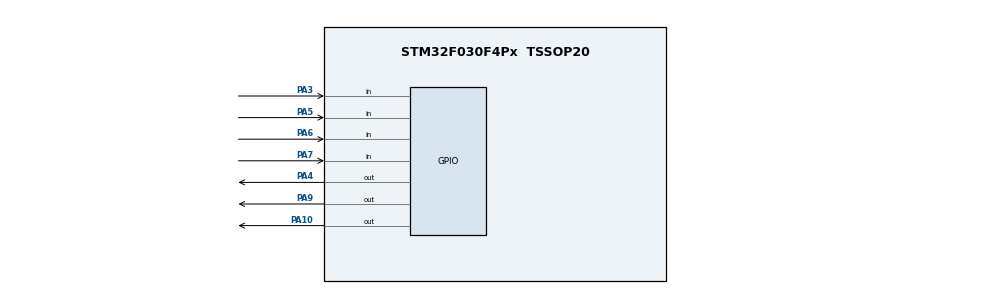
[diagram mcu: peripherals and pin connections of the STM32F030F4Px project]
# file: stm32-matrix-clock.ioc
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Mcu.Family=STM32F0
Mcu.Name=STM32F030F4Px
Mcu.Package=TSSOP20
NVIC.TIM3_IRQn=true\:0\:0\:false\:false\:true\:true\:true
PA10.GPIO_ModeDefaultOutputPP=GPIO_MODE_OUTPUT_OD
PA10.PinState=GPIO_PIN_SET
PA10.Signal=GPIO_Output
PA13.Mode=Serial_Wire
PA13.Signal=SYS_SWDIO
PA14.Mode=Serial_Wire
PA14.Signal=SYS_SWCLK
PA3.GPIO_PuPd=GPIO_PULLUP
PA3.Signal=GPIO_Input
PA4.GPIO_ModeDefaultOutputPP=GPIO_MODE_OUTPUT_OD
PA4.PinState=GPIO_PIN_SET
PA4.Signal=GPIO_Output
PA5.Signal=GPIO_Input
PA6.Signal=GPIO_Input
PA7.Signal=GPIO_Input
PA9.GPIO_ModeDefaultOutputPP=GPIO_MODE_OUTPUT_OD
PA9.PinState=GPIO_PIN_SET
PA9.Signal=GPIO_Output
PF0-OSC_IN.Mode=HSE-External-Oscillator
PF0-OSC_IN.Signal=RCC_OSC_IN
PF1-OSC_OUT.Mode=HSE-External-Oscillator
PF1-OSC_OUT.Signal=RCC_OSC_OUT
ProjectManager.HeapSize=0x200
ProjectManager.StackSize=0x400
ProjectManager.TargetToolchain=SW4STM32
RCC.SYSCLKSource=RCC_SYSCLKSOURCE_HSE
TIM3.Period=99
TIM3.Prescaler=799
VP_TIM3_VS_ClockSourceINT.Mode=Internal
board=custom

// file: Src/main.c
/* USER CODE BEGIN Header */
/**
  ******************************************************************************
  * @file           : main.c
  * @brief          : Main program body
  ******************************************************************************
  * @attention
  *
  * <h2><center>&copy; Copyright (c) 2019 STMicroelectronics.
  * All rights reserved.</center></h2>
  *
  * This software component is licensed by ST under BSD 3-Clause license,
  * the "License"; You may not use this file except in compliance with the
  * License. You may obtain a copy of the License at:
  *                        opensource.org/licenses/BSD-3-Clause
  *
  ******************************************************************************
  */

// stm32f030f4p6
// sw4stm32
// codepage: win-1251
// 19-Oct-2019

//   text    data     bss     dec
//  11036     116    2300   13452

/* USER CODE END Header */

#include "main.h"

/* USER CODE BEGIN Includes */

#include <string.h>

#include "at24c32.h"
#include "max7219.h"
#include "ds3231.h"

/* USER CODE END Includes */

/* USER CODE BEGIN PD */

#define BOARD_LED_PORT    GPIOA
#define BOARD_LED_PIN     GPIO_PIN_4
#define BOARD_LED_OFF     (HAL_GPIO_WritePin(BOARD_LED_PORT, BOARD_LED_PIN, GPIO_PIN_SET))
#define BOARD_LED_ON      (HAL_GPIO_WritePin(BOARD_LED_PORT, BOARD_LED_PIN, GPIO_PIN_RESET))
#define BOARD_LED_TOGGLE  (HAL_GPIO_TogglePin(BOARD_LED_PORT, BOARD_LED_PIN))

#define BUTTON_1_PORT   GPIOA
#define BUTTON_1_PIN    GPIO_PIN_3
#define BUTTON_1_PRESS  (!HAL_GPIO_ReadPin(BUTTON_1_PORT, BUTTON_1_PIN))

#define TMR3_OVF_FREQ    100U
#define TMR3_PERIOD_MS   (1000U/TMR3_OVF_FREQ)
#define EVENT_PERIOD(x)  ((x##U)/TMR3_PERIOD_MS)

#define BRIGHTNESS_EE_ADDR  255
#define SCREENMODE_EE_ADDR  254

/* USER CODE END PD */

TIM_HandleTypeDef htim3;

/* USER CODE BEGIN PV */

uint8_t rtcdata[RTC_DATA_SIZE]={0};  //ds3231 rtc data

char strbuff[16]={'\0'};  //string buffers
char strbuffsum[64]={'\0'};

uint8_t strbufflen=0;

uint16_t scrpos=0xffff;

uint8_t scrbright=0;
uint8_t scrmode=0;

volatile uint8_t scrcnt=0;

volatile uint8_t btncnt=0;
volatile uint8_t hldcnt=0;

const char menustr[9][5]=
  {
  "MODE",
  "BRIG",
  "SEC",
  "MIN",
  "HOU",
  "DAY",
  "DAT",
  "MON",
  "YEA"
  };

const char dayname[2][7][12]=
  {
    {
    "MONDAY",
    "TUESDAY",
    "WEDNESDAY",
    "THURSDAY",
    "FRIDAY",
    "SATURDAY",
    "SUNDAY"
    },
    {
    "ПОНЕДЕЛЬНИК",
    "ВТОРНИК",
    "СРЕДА",
    "ЧЕТВЕРГ",
    "ПЯТНИЦА",
    "СУББОТА",
    "ВОСКРЕСЕНЬЕ"
    }
  };

const char monthname[2][12][10]=
  {
    {
    "JANUARY",
    "FEBRUARY",
    "MARCH",
    "APRIL",
    "MAY",
    "JUNE",
    "JULY",
    "AUGUST",
    "SEPTEMBER",
    "OCTOBER",
    "NOVEMBER",
    "DECEMBER"
    },
    {
    "ЯНВАРЬ",
    "ФЕВРАЛЬ",
    "МАРТ",
    "АПРЕЛЬ",
    "МАЙ",
    "ИЮНЬ",
    "ИЮЛЬ",
    "АВГУСТ",
    "СЕНТЯБРЬ",
    "ОКТЯБРЬ",
    "НОЯБРЬ",
    "ДЕКАБРЬ"
    }
  };

/* USER CODE END PV */

void SystemClock_Config(void);
static void MX_GPIO_Init(void);
static void MX_TIM3_Init(void);

/* USER CODE BEGIN 0 */
//>>>>>>>>>>>>>>>>>>>>>>>>>>>>>>>>>>>>>>>>>>>>>>>>>>>>>>>>>>>>>>>>>>>>>>>>>>>>>

//=============================================================================
void HAL_TIM_PeriodElapsedCallback(TIM_HandleTypeDef *htim3)
    {
    if(scrcnt) scrcnt--;

    if(btncnt) btncnt--;
    if(hldcnt) hldcnt--;
    }

//-----------------------------------------------------------------------------
static uint8_t button_check(void)
    {
    uint8_t k=0;

    static uint8_t stage=0;

    switch(stage)
        {
        case 0:
            if(btncnt==0)
                {
                btncnt=EVENT_PERIOD(50);

                if(BUTTON_1_PRESS)
                    {
                    stage=1;
                    }
                }
            break;

        case 1:
            if(btncnt==0)
                {
                if(BUTTON_1_PRESS)
                    {
                    stage=2;
                    hldcnt=255;
                    }
                else stage=0;
                }
            break;

        case 2:
            if(hldcnt<(255-(uint8_t)EVENT_PERIOD(500)))
                {
                k=2;
                stage=4;
                }
            else if(btncnt==0)
                {
                btncnt=EVENT_PERIOD(50);

                if(!BUTTON_1_PRESS)
                    {
                    stage=3;
                    btncnt=EVENT_PERIOD(50);
                    }
                }
            break;

        case 3:
            if(btncnt==0)
                {
                if(!BUTTON_1_PRESS)
                    {
                    stage=0;
                    k=1;
                    }
                }
            break;

        case 4:
            if(btncnt==0)
                {
                btncnt=EVENT_PERIOD(50);

                if(!BUTTON_1_PRESS)
                    {
                    stage=5;
                    btncnt=EVENT_PERIOD(50);
                    }
                }
            break;

        case 5:
            if(btncnt==0)
                {
                if(!BUTTON_1_PRESS)
                    {
                    stage=0;
                    }
                }
            break;
        }

    return k;
    }

//-----------------------------------------------------------------------------
static void clock_normal_mode(void)
    {
    scrcnt=EVENT_PERIOD(500);

    rtc_read(rtcdata);

    matrix_clear_shift();

    sprintf(strbuff, "%2u", rtcdata[DS3231_MAP_HOURS]);
    matrix_print_shift(0,strbuff);

    matrix_char_shift(14, ':');

    sprintf(strbuff, "%02u",rtcdata[DS3231_MAP_MINUTES]);
    matrix_print_shift(20,strbuff);

    matrix_copy_shift(0);
    }

//-----------------------------------------------------------------------------
static void clock_shift_mode(uint8_t lang)
    {
    scrcnt=EVENT_PERIOD(30);

    if(scrpos>(((uint16_t)strbufflen*7U)+MATRIX_BUFF_SIZE))
        {
        scrpos=0;

        rtc_read(rtcdata);

        strbuffsum[0]='\0';

        sprintf(strbuff, "%u:%02u ", rtcdata[DS3231_MAP_HOURS] ,rtcdata[DS3231_MAP_MINUTES]);
        strcat(strbuffsum, strbuff);

        strcat(strbuffsum, dayname[lang][rtcdata[DS3231_MAP_DAY]-1]);

        sprintf(strbuff, " %u ", rtcdata[DS3231_MAP_DATE]);
        strcat(strbuffsum, strbuff);

        strcat(strbuffsum, monthname[lang][rtcdata[DS3231_MAP_MONTH]-1]);

        sprintf(strbuff, " 20%02u", rtcdata[DS3231_MAP_YEAR]);
        strcat(strbuffsum, strbuff);

        sprintf(strbuff, " %+d", ds3231_read_reg(DS3231_MAP_MSBTEMP));
        strcat(strbuffsum, strbuff);

        strbufflen=strlen(strbuffsum);

        matrix_clear_shift();
        matrix_print_shift(32,strbuffsum);
        }

    matrix_copy_shift(scrpos++);
    }

//-----------------------------------------------------------------------------
static void clock_compact_mode(void)
    {
    scrcnt=EVENT_PERIOD(200);

    rtc_read(rtcdata);

    sprintf(strbuff, "%02u:%02u:%02u", rtcdata[DS3231_MAP_HOURS], rtcdata[DS3231_MAP_MINUTES], rtcdata[DS3231_MAP_SECONDS]);
    matrix_print_small(0,strbuff);
    }

//-----------------------------------------------------------------------------
static void clock_settings_mode(uint8_t mode)
    {
    if(!mode) return;

    if(mode==3) scrcnt=EVENT_PERIOD(200);  //200ms for mode 3 (seconds settings)
    else scrcnt=EVENT_PERIOD(500);         //500ms for other modes

    rtc_read(rtcdata);

    matrix_clear_shift();

    matrix_print_shift_compact(0,menustr[mode-1]);

    if(mode==1 || mode==2)
        {
        sprintf(strbuff, "%1u", (mode==1)?(scrmode+1):(scrbright+1));
        matrix_print_shift(32-5,strbuff);
        }
    else
        {
        sprintf(strbuff, "%02u", rtcdata[mode-3]);
        matrix_print_shift((32-(5+5+2)),strbuff);
        }

    matrix_copy_shift(0);
    }

//<<<<<<<<<<<<<<<<<<<<<<<<<<<<<<<<<<<<<<<<<<<<<<<<<<<<<<<<<<<<<<<<<<<<<<<<<<<<<
/* USER CODE END 0 */

int main(void)
{

  /* MCU Configuration--------------------------------------------------------*/

  /* Reset of all peripherals, Initializes the Flash interface and the Systick. */
  HAL_Init();

  /* Configure the system clock */
  SystemClock_Config();

  /* Initialize all configured peripherals */
  MX_GPIO_Init();
  MX_TIM3_Init();
  /* USER CODE BEGIN 2 */

  HAL_TIM_Base_Start_IT(&htim3);

  HAL_Delay(100);  //delay for matrix power up
  matrix_init();

  uint8_t setm=0;

//  i2c_init();
  ds3231_init();

  scrbright=ee_read(BRIGHTNESS_EE_ADDR)&0b00000111;
  uint8_t oldbright=scrbright;

  matrix_brightness(scrbright);

  scrmode=ee_read(SCREENMODE_EE_ADDR)&0b00000011;
  uint8_t oldscrmode=scrmode;

  /* USER CODE END 2 */

  /* Infinite loop */
  while (1)
  {

    /* USER CODE BEGIN 3 */

    if(scrcnt==0)
        {
        if(setm==0)
            {
            if(scrmode==0) clock_normal_mode();
            if(scrmode==1) clock_shift_mode(0);
            if(scrmode==2) clock_shift_mode(1);
            if(scrmode==3) clock_compact_mode();
            }

        clock_settings_mode(setm);

        matrix_update();
        }

    switch(button_check())
        {
        case 2:
            scrcnt=0;
            scrpos=0xffff;

            if(setm==1) { if(scrmode!=oldscrmode) { oldscrmode=scrmode; ee_write(SCREENMODE_EE_ADDR,scrmode); setm=0; break; } }
            if(setm==2) { if(scrbright!=oldbright) { oldbright=scrbright; ee_write(BRIGHTNESS_EE_ADDR,scrbright); setm=0; break; } }
            if(++setm>9) setm=0;
            break;

        case 1:
            if(setm==0) { break; }

            scrcnt=0;
            scrpos=0xffff;

            if(setm==1) { uint8_t tmp=scrmode; if(++tmp>3) tmp=0; scrmode=tmp; }
            if(setm==2) { uint8_t tmp=scrbright; if(++tmp>7) tmp=0; matrix_brightness(tmp); scrbright=tmp; }
            if(setm==3) { rtc_set_sec(0); }
            if(setm==4) { uint8_t tmp=rtcdata[DS3231_MAP_MINUTES]; if(++tmp>59) tmp=0; rtc_set_min(tmp); }
            if(setm==5) { uint8_t tmp=rtcdata[DS3231_MAP_HOURS]; if(++tmp>23) tmp=0; rtc_set_hrs(tmp); }
            if(setm==6) { uint8_t tmp=rtcdata[DS3231_MAP_DAY]; if(++tmp>7) tmp=1; rtc_set_day(tmp); }
            if(setm==7) { uint8_t tmp=rtcdata[DS3231_MAP_DATE]; if(++tmp>31) tmp=1; rtc_set_dat(tmp); }
            if(setm==8) { uint8_t tmp=rtcdata[DS3231_MAP_MONTH]; if(++tmp>12) tmp=1; rtc_set_mon(tmp); }
            if(setm==9) { uint8_t tmp=rtcdata[DS3231_MAP_YEAR]; if(++tmp>99) tmp=0; rtc_set_year(tmp); }
            break;

        case 0: break;
        default: break;
        }
  }
  /* USER CODE END 3 */
}

void SystemClock_Config(void)
{
  RCC_OscInitTypeDef RCC_OscInitStruct = {0};
  RCC_ClkInitTypeDef RCC_ClkInitStruct = {0};

  /** Initializes the CPU, AHB and APB busses clocks
  */
  RCC_OscInitStruct.OscillatorType = RCC_OSCILLATORTYPE_HSE;
  RCC_OscInitStruct.HSEState = RCC_HSE_ON;
  RCC_OscInitStruct.PLL.PLLState = RCC_PLL_NONE;
  if (HAL_RCC_OscConfig(&RCC_OscInitStruct) != HAL_OK)
  {
    Error_Handler();
  }
  /** Initializes the CPU, AHB and APB busses clocks
  */
  RCC_ClkInitStruct.ClockType = RCC_CLOCKTYPE_HCLK|RCC_CLOCKTYPE_SYSCLK
                              |RCC_CLOCKTYPE_PCLK1;
  RCC_ClkInitStruct.SYSCLKSource = RCC_SYSCLKSOURCE_HSE;
  RCC_ClkInitStruct.AHBCLKDivider = RCC_SYSCLK_DIV1;
  RCC_ClkInitStruct.APB1CLKDivider = RCC_HCLK_DIV1;

  if (HAL_RCC_ClockConfig(&RCC_ClkInitStruct, FLASH_LATENCY_0) != HAL_OK)
  {
    Error_Handler();
  }
}

static void MX_TIM3_Init(void)
{

  TIM_ClockConfigTypeDef sClockSourceConfig = {0};
  TIM_MasterConfigTypeDef sMasterConfig = {0};

  htim3.Instance = TIM3;
  htim3.Init.Prescaler = 799;
  htim3.Init.CounterMode = TIM_COUNTERMODE_UP;
  htim3.Init.Period = 99;
  htim3.Init.ClockDivision = TIM_CLOCKDIVISION_DIV1;
  htim3.Init.AutoReloadPreload = TIM_AUTORELOAD_PRELOAD_DISABLE;
  if (HAL_TIM_Base_Init(&htim3) != HAL_OK)
  {
    Error_Handler();
  }
  sClockSourceConfig.ClockSource = TIM_CLOCKSOURCE_INTERNAL;
  if (HAL_TIM_ConfigClockSource(&htim3, &sClockSourceConfig) != HAL_OK)
  {
    Error_Handler();
  }
  sMasterConfig.MasterOutputTrigger = TIM_TRGO_RESET;
  sMasterConfig.MasterSlaveMode = TIM_MASTERSLAVEMODE_DISABLE;
  if (HAL_TIMEx_MasterConfigSynchronization(&htim3, &sMasterConfig) != HAL_OK)
  {
    Error_Handler();
  }

}

static void MX_GPIO_Init(void)
{
  GPIO_InitTypeDef GPIO_InitStruct = {0};

  /* GPIO Ports Clock Enable */
  __HAL_RCC_GPIOF_CLK_ENABLE();
  __HAL_RCC_GPIOA_CLK_ENABLE();

  /*Configure GPIO pin Output Level */
  HAL_GPIO_WritePin(GPIOA, GPIO_PIN_4|GPIO_PIN_9|GPIO_PIN_10, GPIO_PIN_SET);

  /*Configure GPIO pin : PA3 */
  GPIO_InitStruct.Pin = GPIO_PIN_3;
  GPIO_InitStruct.Mode = GPIO_MODE_INPUT;
  GPIO_InitStruct.Pull = GPIO_PULLUP;
  HAL_GPIO_Init(GPIOA, &GPIO_InitStruct);

  /*Configure GPIO pins : PA4 PA9 PA10 */
  GPIO_InitStruct.Pin = GPIO_PIN_4|GPIO_PIN_9|GPIO_PIN_10;
  GPIO_InitStruct.Mode = GPIO_MODE_OUTPUT_OD;
  GPIO_InitStruct.Pull = GPIO_NOPULL;
  GPIO_InitStruct.Speed = GPIO_SPEED_FREQ_LOW;
  HAL_GPIO_Init(GPIOA, &GPIO_InitStruct);

  /*Configure GPIO pins : PA5 PA6 PA7 */
  GPIO_InitStruct.Pin = GPIO_PIN_5|GPIO_PIN_6|GPIO_PIN_7;
  GPIO_InitStruct.Mode = GPIO_MODE_INPUT;
  GPIO_InitStruct.Pull = GPIO_NOPULL;
  HAL_GPIO_Init(GPIOA, &GPIO_InitStruct);

}

void Error_Handler(void)
{
}

/************************ (C) COPYRIGHT STMicroelectronics *****END OF FILE****/
